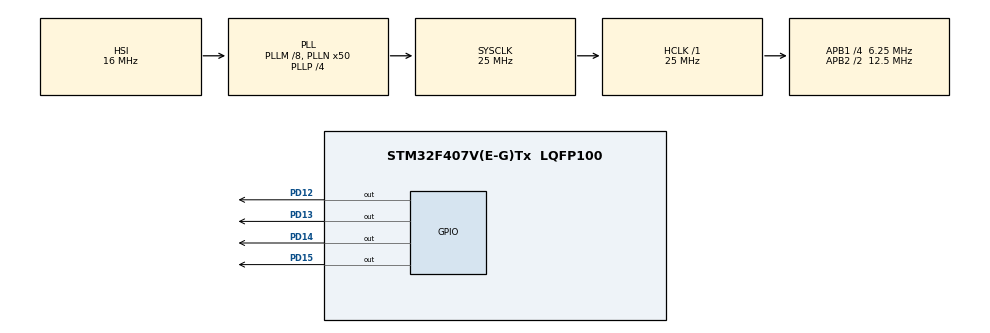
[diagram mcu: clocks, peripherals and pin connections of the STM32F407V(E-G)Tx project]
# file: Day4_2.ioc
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FREERTOS.INCLUDE_vTaskDelayUntil=1
FREERTOS.Tasks01=defaultTask,-3,128,StartDefaultTask,Default,NULL,Dynamic,NULL,NULL
FREERTOS.configUSE_NEWLIB_REENTRANT=1
Mcu.Family=STM32F4
Mcu.Name=STM32F407V(E-G)Tx
Mcu.Package=LQFP100
NVIC.PriorityGroup=NVIC_PRIORITYGROUP_4
NVIC.TIM1_UP_TIM10_IRQn=true\:15\:0\:false\:false\:true\:false\:false\:true\:true
NVIC.TimeBase=TIM1_UP_TIM10_IRQn
NVIC.TimeBaseIP=TIM1
PD12.Signal=GPIO_Output
PD13.Signal=GPIO_Output
PD14.Signal=GPIO_Output
PD15.Signal=GPIO_Output
ProjectManager.HeapSize=0x200
ProjectManager.StackSize=0x400
ProjectManager.TargetToolchain=STM32CubeIDE
RCC.48MHZClocksFreq_Value=14285714.285714285
RCC.AHBFreq_Value=25000000
RCC.APB1CLKDivider=RCC_HCLK_DIV4
RCC.APB1Freq_Value=6250000
RCC.APB1TimFreq_Value=12500000
RCC.APB2CLKDivider=RCC_HCLK_DIV2
RCC.APB2Freq_Value=12500000
RCC.APB2TimFreq_Value=25000000
RCC.CortexFreq_Value=25000000
RCC.HCLKFreq_Value=25000000
RCC.HSE_VALUE=8000000
RCC.HSI_VALUE=16000000
RCC.LSE_VALUE=32768
RCC.PLLM=8
RCC.PLLN=50
RCC.PLLP=RCC_PLLP_DIV4
RCC.PLLQ=7
RCC.SYSCLKFreq_VALUE=25000000
RCC.SYSCLKSource=RCC_SYSCLKSOURCE_PLLCLK
RCC.VCOOutputFreq_Value=100000000
VP_FREERTOS_VS_CMSIS_V1.Mode=CMSIS_V1
VP_SYS_VS_tim1.Mode=TIM1
board=STM32F407G-DISC1

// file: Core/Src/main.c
/* USER CODE BEGIN Header */
/**
  ******************************************************************************
  * @file           : main.c
  * @brief          : Main program body
  ******************************************************************************
  * @attention
  *
  * Copyright (c) 2024 STMicroelectronics.
  * All rights reserved.
  *
  * This software is licensed under terms that can be found in the LICENSE file
  * in the root directory of this software component.
  * If no LICENSE file comes with this software, it is provided AS-IS.
  *
  ******************************************************************************
  */
/* USER CODE END Header */
#include "main.h"
#include "cmsis_os.h"

/* USER CODE BEGIN Includes */
#include <stdio.h>
#include <stdlib.h>
/* USER CODE END Includes */

osThreadId defaultTaskHandle;

void SystemClock_Config(void);
static void MX_GPIO_Init(void);
void StartDefaultTask(void const * argument);

/* USER CODE BEGIN 0 */
typedef struct led{
	uint16_t pin;
	uint32_t delay;
}led_t;

void vLedTask1(void *pvParam){
	led_t *led = (led_t*)pvParam;

	portTickType xWakeupTime = xTaskGetTickCount();
	while(1){
		HAL_GPIO_TogglePin(GPIOD, led->pin);
		vTaskDelayUntil(&xWakeupTime, led->delay/portTICK_RATE_MS);
	}
	vTaskDelete(NULL);
}

/* USER CODE END 0 */

int main(void)
{

  /* MCU Configuration--------------------------------------------------------*/

  /* Reset of all peripherals, Initializes the Flash interface and the Systick. */
  HAL_Init();

  /* Configure the system clock */
  SystemClock_Config();

  /* Initialize all configured peripherals */
  MX_GPIO_Init();
  /* USER CODE BEGIN 2 */
  BaseType_t xRet;
  led_t p1;
  p1.pin= GPIO_PIN_12;
  p1.delay = 1000;

  led_t p2;
  p2.pin= GPIO_PIN_13;
  p2.delay = 2000;

  led_t p3;
  p3.pin= GPIO_PIN_14;
  p3.delay = 3000;

  led_t p4;
  p4.pin= GPIO_PIN_15;
  p4.delay = 4000;
  /* USER CODE END 2 */

  /* Create the thread(s) */
  /* definition and creation of defaultTask */
  osThreadDef(defaultTask, StartDefaultTask, osPriorityIdle, 0, 128);
  defaultTaskHandle = osThreadCreate(osThread(defaultTask), NULL);

  /* USER CODE BEGIN RTOS_THREADS */
  /* add threads, ... */

  xRet = xTaskCreate(vLedTask1, "LED1", configMINIMAL_STACK_SIZE, &p1, 1, NULL);
  if(xRet != pdTRUE)
	  Error_Handler();
  xRet = xTaskCreate(vLedTask1, "LED2", configMINIMAL_STACK_SIZE, &p2, 1, NULL);
  if(xRet != pdTRUE)
	  Error_Handler();
  xRet = xTaskCreate(vLedTask1, "LED3", configMINIMAL_STACK_SIZE, &p3, 1, NULL);
  if(xRet != pdTRUE)
	  Error_Handler();
  xRet = xTaskCreate(vLedTask1, "LED4", configMINIMAL_STACK_SIZE, &p4, 1, NULL);
  if(xRet != pdTRUE)
	  Error_Handler();
  /* USER CODE END RTOS_THREADS */

  /* Start scheduler */
  osKernelStart();

  /* We should never get here as control is now taken by the scheduler */

  /* Infinite loop */
  while (1)
  {

  }
}

void SystemClock_Config(void)
{
  RCC_OscInitTypeDef RCC_OscInitStruct = {0};
  RCC_ClkInitTypeDef RCC_ClkInitStruct = {0};

  /** Configure the main internal regulator output voltage
  */
  __HAL_RCC_PWR_CLK_ENABLE();
  __HAL_PWR_VOLTAGESCALING_CONFIG(PWR_REGULATOR_VOLTAGE_SCALE1);

  /** Initializes the RCC Oscillators according to the specified parameters
  * in the RCC_OscInitTypeDef structure.
  */
  RCC_OscInitStruct.OscillatorType = RCC_OSCILLATORTYPE_HSI;
  RCC_OscInitStruct.HSIState = RCC_HSI_ON;
  RCC_OscInitStruct.HSICalibrationValue = RCC_HSICALIBRATION_DEFAULT;
  RCC_OscInitStruct.PLL.PLLState = RCC_PLL_ON;
  RCC_OscInitStruct.PLL.PLLSource = RCC_PLLSOURCE_HSI;
  RCC_OscInitStruct.PLL.PLLM = 8;
  RCC_OscInitStruct.PLL.PLLN = 50;
  RCC_OscInitStruct.PLL.PLLP = RCC_PLLP_DIV4;
  RCC_OscInitStruct.PLL.PLLQ = 7;
  if (HAL_RCC_OscConfig(&RCC_OscInitStruct) != HAL_OK)
  {
    Error_Handler();
  }

  /** Initializes the CPU, AHB and APB buses clocks
  */
  RCC_ClkInitStruct.ClockType = RCC_CLOCKTYPE_HCLK|RCC_CLOCKTYPE_SYSCLK
                              |RCC_CLOCKTYPE_PCLK1|RCC_CLOCKTYPE_PCLK2;
  RCC_ClkInitStruct.SYSCLKSource = RCC_SYSCLKSOURCE_PLLCLK;
  RCC_ClkInitStruct.AHBCLKDivider = RCC_SYSCLK_DIV1;
  RCC_ClkInitStruct.APB1CLKDivider = RCC_HCLK_DIV4;
  RCC_ClkInitStruct.APB2CLKDivider = RCC_HCLK_DIV2;

  if (HAL_RCC_ClockConfig(&RCC_ClkInitStruct, FLASH_LATENCY_0) != HAL_OK)
  {
    Error_Handler();
  }
}

static void MX_GPIO_Init(void)
{
  GPIO_InitTypeDef GPIO_InitStruct = {0};

  /* GPIO Ports Clock Enable */
  __HAL_RCC_GPIOD_CLK_ENABLE();

  /*Configure GPIO pin Output Level */
  HAL_GPIO_WritePin(GPIOD, GPIO_PIN_14, GPIO_PIN_RESET);

  /*Configure GPIO pin : PD14 */
  GPIO_InitStruct.Pin = GPIO_PIN_14;
  GPIO_InitStruct.Mode = GPIO_MODE_OUTPUT_PP;
  GPIO_InitStruct.Pull = GPIO_NOPULL;
  GPIO_InitStruct.Speed = GPIO_SPEED_FREQ_LOW;
  HAL_GPIO_Init(GPIOD, &GPIO_InitStruct);

}

void StartDefaultTask(void const * argument)
{
  for(;;)
  {
    osDelay(1);
  }
}

void HAL_TIM_PeriodElapsedCallback(TIM_HandleTypeDef *htim)
{
  if (htim->Instance == TIM1) {
    HAL_IncTick();
  }
}

void Error_Handler(void)
{
  __disable_irq();
  while (1)
  {
  }
}
